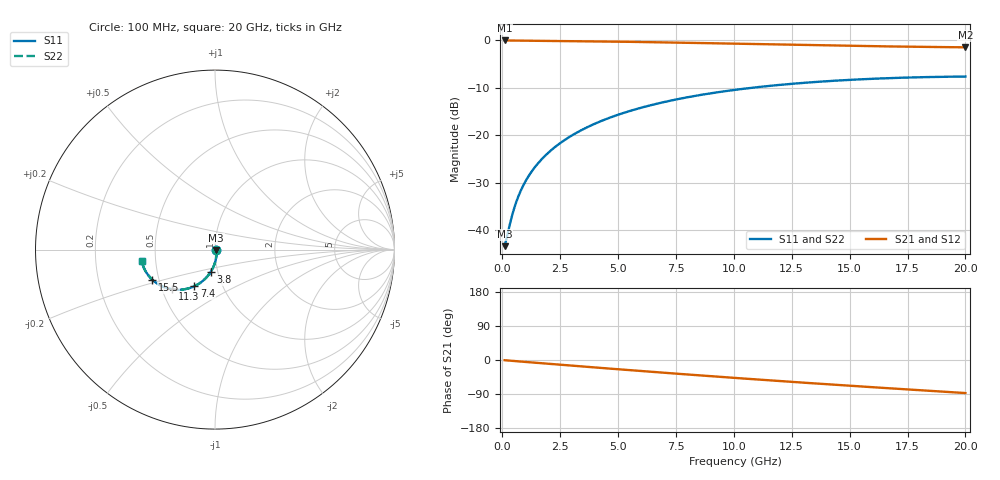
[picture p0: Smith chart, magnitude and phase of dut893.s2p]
! Touchstone file exported from HFSS 2026.1.0
!  File:  C:/ffzhzh/LocalFiles/Ansys_Project_Files/temp_train_TSV_RDL_893_1783275321_5512.aedt
!  Generated:  02:22:53 AM Jul  6, 2026
!  Design:  TSV_RDL
!  Project:  temp_train_TSV_RDL_893_1783275321_5512
! Variables:
!  h_bsmrdl = 2.73um
!  h_ox = 20um
!  h_rdl = 5um
!  h_sub = 76.77um
!  h_tmrdl = 5.95um
!  h_tsv = 76.77um
!  h_via = 3um
!  l_bsmrdl = 105.05um
!  l_sub = 1228.32um
!  l_tmrdl = 103.94um
!  m_sub = 200um
!  pitch = 17.97um
!  r_tsv = 6.89um
!  s_tmrdl = 10um
!  w_bsmrdl = 16.44um
!  w_sub = 500um
!  w_tmrdl = 16.03um
!  x_tsv_center1 = 111.955um
!  x_tsv_center2 = 233.445um
!  x_tsv_center3 = 353.415um
!  x_tsv_center4 = 474.905um
!  x_tsv_center5 = 594.875um
!  x_tsv_center6 = 716.365um
# GHz S MA R 50.000000
! Terminal data exported
! Port[1] = TM_RDL1_1_T1
! Port[2] = TM_RDL5_1_T1
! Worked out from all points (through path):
!   200 points, 100 MHz to 20 GHz, reference 50 ohm
!   highest |S21| = -0.06 dB at 100 MHz (marker M1); lowest = -1.5 dB at 20 GHz (marker M2)
!   group delay of S21, straight-line fit = 12.1 ps
!   lowest |S11| = -43.4 dB at 100 MHz (marker M3), VSWR 1.01, Z = 50.6 - j0.236 ohm
!   |S11| at or under -10 dB: start of sweep to 10.83 GHz
!   |S22| runs from -43.4 to -7.7 dB; largest |S21 - S12| = 4.5e-14
!   S11 on the Smith chart (normalised r, x): 100 MHz: 1.01, -0.00; 3.8 GHz: 0.93, -0.23; 7.4 GHz: 0.74, -0.32; 11.3 GHz: 0.56, -0.28; 15.5 GHz: 0.46, -0.18; 20 GHz: 0.42, -0.06
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0.1  0.006753 -20.2  0.9936 -0.6  0.9936 -0.6  0.006753 -20.2
! Gamma 0 0 0 0
! Port Impedance 50 0 50 0
0.4  0.01354 -54.4  0.9916 -2.1  0.9916 -2.1  0.01354 -54.4
0.6  0.01963 -64.8  0.9904 -3.1  0.9904 -3.1  0.01963 -64.8
0.7  0.0228 -68.4  0.9899 -3.6  0.9899 -3.6  0.0228 -68.4
0.9  0.02926 -73.8  0.9891 -4.6  0.9891 -4.6  0.02926 -73.8
1.2  0.03908 -79.4  0.9879 -6.1  0.9879 -6.1  0.03908 -79.4
1.4  0.04568 -82.2  0.9871 -7.1  0.9871 -7.1  0.04568 -82.2
1.7  0.05563 -85.5  0.9858 -8.5  0.9858 -8.5  0.05563 -85.5
2.2  0.07229 -90.0  0.9835 -11.0  0.9835 -11.0  0.07229 -90.0
2.8  0.09231 -94.4  0.9802 -13.9  0.9802 -13.9  0.09231 -94.4
3.5  0.1155 -98.8  0.9759 -17.3  0.9759 -17.3  0.1155 -98.8
3.8  0.1254 -100.6  0.9739 -18.7  0.9739 -18.7  0.1254 -100.6
5.2  0.1701 -108.4  0.9635 -25.4  0.9635 -25.4  0.1701 -108.4
6.8  0.2177 -116.5  0.9498 -32.8  0.9498 -32.8  0.2177 -116.5
7.4  0.2344 -119.4  0.9443 -35.5  0.9443 -35.5  0.2344 -119.4
8.7  0.2683 -125.6  0.9318 -41.4  0.9318 -41.4  0.2683 -125.6
10.1  0.3008 -131.9  0.9179 -47.5  0.9179 -47.5  0.3008 -131.9
11.3  0.3254 -137.1  0.9061 -52.7  0.9061 -52.7  0.3254 -137.1
13.4  0.361 -145.9  0.8862 -61.4  0.8862 -61.4  0.361 -145.9
15.5  0.3873 -154.3  0.8685 -69.9  0.8685 -69.9  0.3872 -154.3
16.7  0.3982 -159.0  0.8597 -74.6  0.8597 -74.6  0.3982 -159.0
20  0.4138 -171.2  0.8412 -87.3  0.8412 -87.3  0.4138 -171.2
